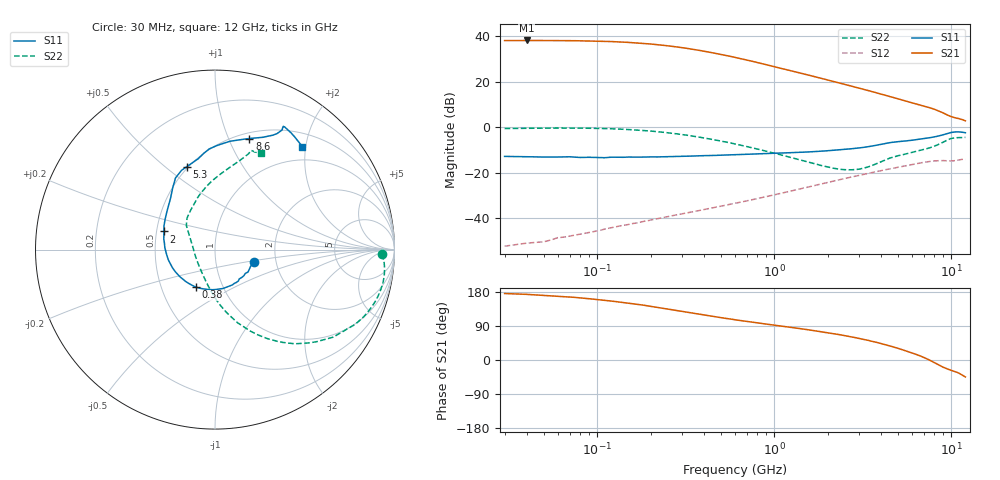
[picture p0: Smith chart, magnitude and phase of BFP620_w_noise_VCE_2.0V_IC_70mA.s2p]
! Infineon Technologies  Discrete & RF Semiconductors
! BFP620
! VCE =  2.0 V,  IC =  70 mA
! Common Emitter S-Parameters:  Nov 2015
# GHz  S  MA  R  50
!  f  S11  S21  S12  S22
! GHz  MAG  ANG  MAG  ANG  MAG  ANG  MAG  ANG
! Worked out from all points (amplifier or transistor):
!   239 points, 30 MHz to 12 GHz, reference 50 ohm
!   highest |S21| = 38.1 dB at 40 MHz (marker M1)
!   |S21| within 3 dB of that: start of sweep to 290.7 MHz
!   unconditionally stable (mu >= 1): 1.701 GHz to end of sweep
!   at 300 MHz: K = 0.55, MSG = 36.6 dB, |S12| = -38.2 dB
!   at 1.88 GHz: K = 1.01, MAG = 22.5 dB, |S12| = -24.9 dB
!   at 12 GHz: K = 1.09, MAG = 6.7 dB, |S12| = -14.2 dB
!   lowest NFmin = 1.85 dB at 450 MHz
!   S11 on the Smith chart (normalised r, x): 30 MHz: 1.53, -0.22; 380 MHz: 0.75, -0.33; 2 GHz: 0.55, +0.12; 5.3 GHz: 0.49, +0.60; 8.6 GHz: 0.56, +1.19; 12 GHz: 0.73, +1.94
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0.03  0.2267 -17.4  80.16 175.4  0.0024 104.6  0.9318 -1.5
0.04  0.2237 -22.4  80.68 173.2  0.0028 98.1  0.9442 -4.0
0.07  0.2224 -34.1  80.13 166.3  0.004 89.1  0.9538 -11.3
0.085  0.2157 -40.2  79 162.9  0.0046 85.6  0.9473 -14.7
0.115  0.2149 -51.9  76.76 156.5  0.0059 81.9  0.9242 -21.2
0.14  0.2167 -60.3  74.21 151.8  0.0069 79.9  0.8975 -26.2
0.165  0.2183 -67.9  71.27 147.6  0.0077 77.9  0.864 -30.4
0.2  0.2212 -78.2  67.42 141.6  0.009 76.2  0.8197 -36.5
0.24  0.2226 -89.0  62.66 135.9  0.0104 75.0  0.7648 -42.1
0.3  0.2265 -102.6  56.16 128.3  0.0123 73.2  0.6882 -49.7
0.38  0.2335 -116.5  48.6 120.5  0.0147 71.9  0.5984 -57.4
0.45  0.238 -126.5  43.02 114.8  0.0168 71.2  0.5327 -63.3
0.6  0.2473 -142.5  34.17 106.0  0.0211 70.3  0.4261 -72.9
0.7  0.2528 -150.5  29.83 101.5  0.0238 69.9  0.3723 -78.0
0.9  0.2616 -162.9  23.66 94.6  0.0295 68.9  0.295 -86.6
1.2  0.2724 -175.9  17.99 86.9  0.038 66.9  0.2215 -97.3
1.64  0.288 170.2  13.28 78.2  0.0505 63.2  0.1613 -113.4
2  0.3018 160.4  10.9 72.0  0.0604 59.7  0.1322 -129.6
4.5  0.4556 118.9  4.693 36.9  0.121 33.1  0.2088 139.9
5.3  0.4884 108.8  3.927 27.0  0.1367 24.9  0.2464 126.2
8.6  0.6478 72.8  2.213 -14.4  0.1832 -11.3  0.4288 84.8
12  0.7524 49.7  1.373 -44.8  0.1944 -37.8  0.5957 64.4
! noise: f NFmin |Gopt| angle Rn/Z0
0.45  1.85  0.39  -167  0.1
0.9  1.87  0.42  -156  0.11
1.9  1.88  0.44  -140  0.15
2.4  1.92  0.45  -137  0.16
3.5  1.99  0.48  -107  0.3
5.5  2.26  0.48  -85  0.45
10  2.54  0.69  -41  1.65
